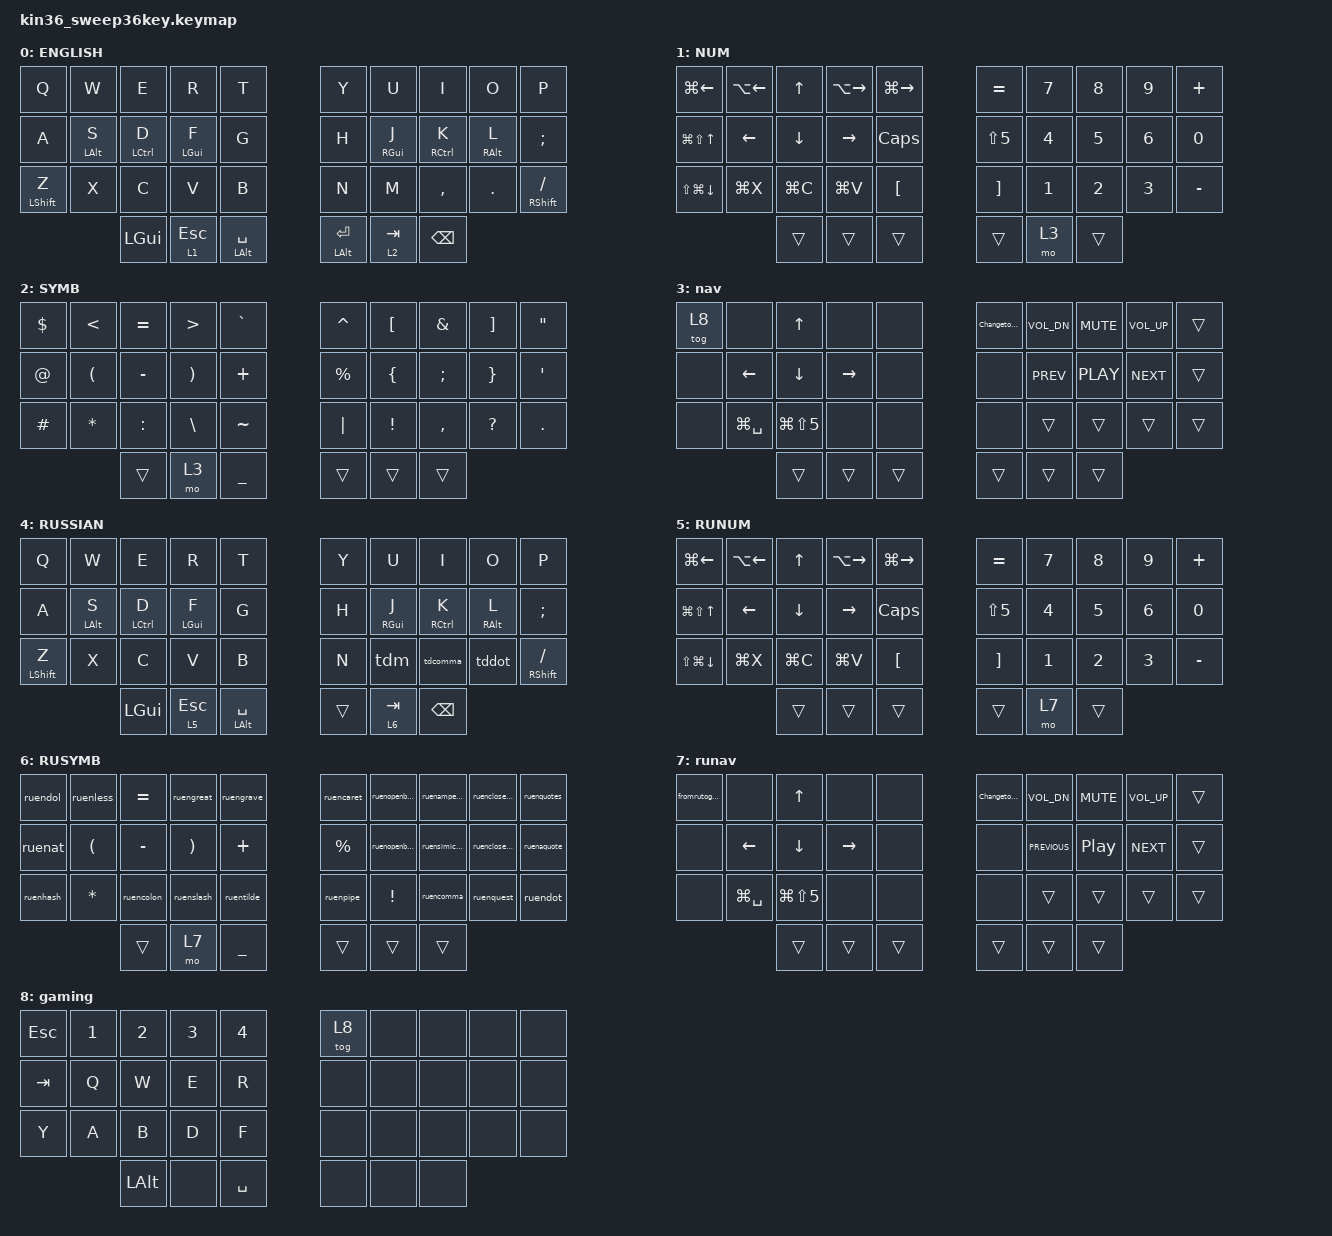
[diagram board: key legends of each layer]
// Copyright (c) 2022 The ZMK Contributors
// SPDX-License-Identifier: MIT

#define ZMK_POINTING_DEFAULT_MOVE_VAL 2500  // 600
#define ZMK_POINTING_DEFAULT_SCRL_VAL 20    // 10

#include <behaviors.dtsi>
#include <dt-bindings/zmk/keys.h>

#define MAC 0
#define WIN 1
#define RIG 2
#define LEF 3
#define TRI 4
#define MOUSE 5

// https://zmk.dev/docs/development/hardware-integration/soft-off-setup?advanced-methods=wakeup&kscan-type=dkscan

/ {
    keys {
        compatible = "gpio-keys";

        soft_off_gpio_key: soft_off_gpio_key { gpios = <&gpio1 6 (GPIO_ACTIVE_LOW | GPIO_PULL_UP)>; };
    };

    wakeup_scan: wakeup_scan {
        compatible = "zmk,kscan-gpio-direct";
        input-keys = <&soft_off_gpio_key>;
        wakeup-source;
    };

    side_band_behavior_triggers: side_band_behavior_triggers {
        compatible = "zmk,kscan-sideband-behaviors";
        kscan = <&wakeup_scan>;
        auto-enable;
        wakeup-source;
    };

    soft_off_wakers {
        compatible = "zmk,soft-off-wakeup-sources";
        wakeup-sources = <&wakeup_scan>;
    };
};

/ {
    // chosen { zmk,charmap = &charmap_us; };

    behaviors {
        ht: hold_tap {
            label = "hold_tap";
            compatible = "zmk,behavior-hold-tap";
            #binding-cells = <2>;
            flavor = "tap-preferred";
            tapping-term-ms = <220>;
            quick-tap-ms = <150>;
            global-quick-tap;
            bindings = <&kp>, <&kp>;

            require-prior-idle-ms = <50>;
        };

        tdm: tdm {
            compatible = "zmk,behavior-tap-dance";
            label = "TDM";
            #binding-cells = <0>;
            bindings = <&kp M>, <&kp LEFT_BRACKET>;
        };

        tdcomma: tdcomma {
            compatible = "zmk,behavior-tap-dance";
            label = "TDCOMMA";
            #binding-cells = <0>;
            bindings = <&kp COMMA>, <&kp SINGLE_QUOTE>;
        };

        tddot: tddot {
            compatible = "zmk,behavior-tap-dance";
            label = "TDDOT";
            #binding-cells = <0>;
            bindings = <&kp PERIOD>, <&kp RIGHT_BRACKET>;
        };

        mmv {
            acceleration-exponent = <1>;      // 1
            time-to-max-speed-ms = <300>;    // 40
            delay-ms = <0>;                   // 0
        };

        msc {
            acceleration-exponent = <0>;      // 0
            time-to-max-speed-ms = <40>;      // 500
            delay-ms = <0>;                   // 10
        };
    };

    conditional_layers { compatible = "zmk,conditional-layers"; };

    combos {
        compatible = "zmk,combos";

        ENG {
            bindings = <&toeng>;
            key-positions = <2 3>;
            layers = <4>;
        };

        newline {
            bindings = <&kp LS(ENTER)>;
            key-positions = <20 33>;
            layers = <0 4>;
        };

        changeru {
            bindings = <&torus>;
            key-positions = <2 3>;
            layers = <0>;
        };
    };

    macros {
        Changetoeng: Changetoeng {
            compatible = "zmk,behavior-macro";
            #binding-cells = <0>;
            bindings = <&kp LC(SPACE)>;
            label = "CHANGETOENG";
        };

        ruendol: ruen {
            compatible = "zmk,behavior-macro";
            #binding-cells = <0>;
            bindings = <&Changetoeng &kp DOLLAR &Changetoeng>;
            label = "RUEN";
        };

        ruenat: ruenat {
            compatible = "zmk,behavior-macro";
            #binding-cells = <0>;
            bindings = <&Changetoeng &kp AT_SIGN &Changetoeng>;
            label = "RUENAT";
        };

        ruenhash: ruencell {
            compatible = "zmk,behavior-macro";
            #binding-cells = <0>;
            bindings = <&Changetoeng &kp HASH &Changetoeng>;
            label = "RUENCELL";
        };

        ruenless: ruenless {
            compatible = "zmk,behavior-macro";
            #binding-cells = <0>;
            bindings = <&Changetoeng &kp LESS_THAN &Changetoeng>;
            label = "RUENLESS";
        };

        ruengreat: ruengreat {
            compatible = "zmk,behavior-macro";
            #binding-cells = <0>;
            bindings = <&Changetoeng &kp GREATER_THAN &Changetoeng>;
            label = "RUENGREAT";
        };

        ruengrave: ruengrave {
            compatible = "zmk,behavior-macro";
            #binding-cells = <0>;
            bindings = <&Changetoeng &kp GRAVE &Changetoeng>;
            label = "RUENGRAVE";
        };

        ruencolon: ruencolon {
            compatible = "zmk,behavior-macro";
            #binding-cells = <0>;
            bindings = <&Changetoeng &kp COLON &Changetoeng>;
            label = "RUENCOLON";
        };

        ruenslash: ruenslash {
            compatible = "zmk,behavior-macro";
            #binding-cells = <0>;
            bindings = <&Changetoeng &kp BACKSLASH &Changetoeng>;
            label = "RUENSLASH";
        };

        ruentilde: new_macro {
            compatible = "zmk,behavior-macro";
            #binding-cells = <0>;
            bindings = <&Changetoeng &kp TILDE &Changetoeng>;
            label = "NEW_MACRO";
        };

        ruencaret: ruencaret {
            compatible = "zmk,behavior-macro";
            #binding-cells = <0>;
            bindings = <&Changetoeng &kp CARET &Changetoeng>;
            label = "RUENCARET";
        };

        ruenopenbracket: ruenopenbracket {
            compatible = "zmk,behavior-macro";
            #binding-cells = <0>;
            bindings = <&Changetoeng &kp LEFT_BRACKET &Changetoeng>;
        };

        ruenclosebracket: ruenclosebracket {
            compatible = "zmk,behavior-macro";
            #binding-cells = <0>;
            bindings = <&Changetoeng &kp RIGHT_BRACKET &Changetoeng>;
            label = "RUENCLOSEBRACKET";
        };

        ruenquotes: ruendunno {
            compatible = "zmk,behavior-macro";
            #binding-cells = <0>;
            bindings = <&Changetoeng &kp DOUBLE_QUOTES &Changetoeng>;
            label = "RUENDUNNO";
        };

        ruenopenbrace: ruenopenbrace {
            compatible = "zmk,behavior-macro";
            #binding-cells = <0>;
            bindings = <&Changetoeng &kp LEFT_BRACE &Changetoeng>;
            label = "RUENOPENBRACE";
        };

        ruenclosebrace: ruenclosebrace {
            compatible = "zmk,behavior-macro";
            #binding-cells = <0>;
            bindings = <&Changetoeng &kp RIGHT_BRACE &Changetoeng>;
            label = "RUENCLOSEBRACE";
        };

        ruenaquote: ruenasteriks {
            compatible = "zmk,behavior-macro";
            #binding-cells = <0>;
            bindings = <&Changetoeng &kp SINGLE_QUOTE &Changetoeng>;
            label = "RUENASTERIKS";
        };

        ruenpipe: ruenpipe {
            compatible = "zmk,behavior-macro";
            #binding-cells = <0>;
            bindings = <&Changetoeng &kp PIPE &Changetoeng>;
            label = "ruenpipe";
        };

        ruensimicolon: ruensimicolon {
            compatible = "zmk,behavior-macro";
            #binding-cells = <0>;
            bindings = <&Changetoeng &kp SEMICOLON &Changetoeng>;
            label = "RUENSIMICOLON";
        };

        ruencomma: ruencomma {
            compatible = "zmk,behavior-macro";
            #binding-cells = <0>;
            bindings = <&Changetoeng &kp COMMA &Changetoeng>;
            label = "RUENCOMMA";
        };

        ruenquest: ruenquest {
            compatible = "zmk,behavior-macro";
            #binding-cells = <0>;
            bindings = <&Changetoeng &kp QUESTION &Changetoeng>;
            label = "RUENQUEST";
        };

        ruendot: ruendot {
            compatible = "zmk,behavior-macro";
            #binding-cells = <0>;
            bindings = <&Changetoeng &kp PERIOD &Changetoeng>;
            label = "RUENDOT";
        };

        toeng: toeng {
            compatible = "zmk,behavior-macro";
            #binding-cells = <0>;
            bindings = <&Changetoeng &tog 4>;
            label = "TOENG";
        };

        torus: torus {
            compatible = "zmk,behavior-macro";
            #binding-cells = <0>;
            bindings = <&Changetoeng &tog 4>;
            label = "TORUS";
        };

        fromrutogaming: fromrutogaming {
            compatible = "zmk,behavior-macro";
            #binding-cells = <0>;
            bindings = <&tog 4 &tog 8 &Changetoeng>;
            label = "FROMRUTOGAMING";
        };

        ruenampersand: ruenampersand {
            compatible = "zmk,behavior-macro";
            #binding-cells = <0>;
            bindings = <&Changetoeng &kp AMPERSAND &Changetoeng>;
            label = "RUENAMPERSAND";
        };
    };

    keymap {
        compatible = "zmk,keymap";

        ENGLISH {
            display-name = "ENGLISH";
            bindings = <
  &kp Q             &kp W       &kp E         &kp R       &kp T                 &kp Y               &kp U       &kp I        &kp O       &kp P
  &kp A             &ht LALT S  &ht LCTRL D   &ht LGUI F  &kp G                 &kp H               &ht RGUI J  &ht RCTRL K  &ht RALT L  &kp SEMICOLON
  &mt LEFT_SHIFT Z  &kp X       &kp C         &kp V       &kp B                 &kp N               &kp M       &kp COMMA    &kp DOT     &mt RIGHT_SHIFT SLASH
                                &kp LEFT_GUI  &lt 1 ESC   &mt LEFT_ALT SPACE    &mt LEFT_ALT ENTER  &lt 2 TAB   &kp BSPC
            >;
        };

        NUM {
            display-name = "NUM";
            bindings = <
  &kp LG(LEFT_ARROW)    &kp LA(LEFT)    &kp UP_ARROW  &kp LA(RIGHT)  &kp LG(RIGHT)       &kp EQUAL          &kp N7        &kp N8        &kp N9        &kp PLUS
  &kp LG(LS(UP_ARROW))  &kp LEFT_ARROW  &kp DOWN      &kp RIGHT      &kp CAPSLOCK        &kp LS(N5)         &kp NUMBER_4  &kp N5        &kp NUMBER_6  &kp N0
  &kp LS(LG(DOWN))      &kp LG(X)       &kp LG(C)     &kp LG(V)      &kp LEFT_BRACKET    &kp RIGHT_BRACKET  &kp NUMBER_1  &kp NUMBER_2  &kp NUMBER_3  &kp MINUS
                                        &trans        &trans         &trans              &trans             &mo 3         &trans
            >;
        };

        SYMB {
            bindings = <
  &kp DOLLAR   &kp LESS_THAN         &kp EQUAL  &kp GREATER_THAN       &kp GRAVE         &kp CARET    &kp LBKT         &kp AMPERSAND  &kp RBKT         &kp DOUBLE_QUOTES
  &kp AT_SIGN  &kp LEFT_PARENTHESIS  &kp MINUS  &kp RIGHT_PARENTHESIS  &kp PLUS          &kp PERCENT  &kp LEFT_BRACE   &kp SEMICOLON  &kp RIGHT_BRACE  &kp SINGLE_QUOTE
  &kp HASH     &kp ASTERISK          &kp COLON  &kp BACKSLASH          &kp TILDE         &kp PIPE     &kp EXCLAMATION  &kp COMMA      &kp QUESTION     &kp PERIOD
                                     &trans     &mo 3                  &kp UNDERSCORE    &trans       &trans           &trans
            >;
        };

        nav {
            bindings = <
  &tog 8  &none          &kp UP_ARROW    &none      &none     &Changetoeng  &kp C_VOL_DN  &kp C_MUTE  &kp C_VOL_UP  &trans
  &none   &kp LEFT       &kp DOWN        &kp RIGHT  &none     &none         &kp C_PREV    &kp C_PLAY  &kp C_NEXT    &trans
  &none   &kp LG(SPACE)  &kp LG(LS(N5))  &none      &none     &none         &trans        &trans      &trans        &trans
                         &trans          &trans     &trans    &trans        &trans        &trans
            >;
        };

        RUSSIAN {
            display-name = "RUSSIAN";
            bindings = <
  &kp Q             &kp W       &kp E         &kp R       &kp T                 &kp Y   &kp U       &kp I        &kp O       &kp P
  &kp A             &ht LALT S  &ht LCTRL D   &ht LGUI F  &kp G                 &kp H   &ht RGUI J  &ht RCTRL K  &ht RALT L  &kp SEMICOLON
  &mt LEFT_SHIFT Z  &kp X       &kp C         &kp V       &kp B                 &kp N   &tdm        &tdcomma     &tddot      &mt RIGHT_SHIFT SLASH
                                &kp LEFT_GUI  &lt 5 ESC   &mt LEFT_ALT SPACE    &trans  &lt 6 TAB   &kp BSPC
            >;
        };

        RUNUM {
            display-name = "RUNUM";
            bindings = <
  &kp LG(LEFT_ARROW)    &kp LA(LEFT)    &kp UP_ARROW  &kp LA(RIGHT)  &kp LG(RIGHT)       &kp EQUAL          &kp N7        &kp N8        &kp N9        &kp PLUS
  &kp LG(LS(UP_ARROW))  &kp LEFT_ARROW  &kp DOWN      &kp RIGHT      &kp CAPSLOCK        &kp LS(N5)         &kp NUMBER_4  &kp N5        &kp NUMBER_6  &kp N0
  &kp LS(LG(DOWN))      &kp LG(X)       &kp LG(C)     &kp LG(V)      &kp LEFT_BRACKET    &kp RIGHT_BRACKET  &kp NUMBER_1  &kp NUMBER_2  &kp NUMBER_3  &kp MINUS
                                        &trans        &trans         &trans              &trans             &mo 7         &trans
            >;
        };

        RUSYMB {
            display-name = "RUSYMB";
            bindings = <
  &ruendol   &ruenless             &kp EQUAL   &ruengreat             &ruengrave        &ruencaret   &ruenopenbracket  &ruenampersand  &ruenclosebracket  &ruenquotes
  &ruenat    &kp LEFT_PARENTHESIS  &kp MINUS   &kp RIGHT_PARENTHESIS  &kp PLUS          &kp PERCENT  &ruenopenbrace    &ruensimicolon  &ruenclosebrace    &ruenaquote
  &ruenhash  &kp ASTERISK          &ruencolon  &ruenslash             &ruentilde        &ruenpipe    &kp EXCL          &ruencomma      &ruenquest         &ruendot
                                   &trans      &mo 7                  &kp UNDERSCORE    &trans       &trans            &trans
            >;
        };

        runav {
            bindings = <
  &fromrutogaming  &none           &kp UP_ARROW    &none      &none     &Changetoeng  &kp C_VOL_DN    &kp C_MUTE        &kp C_VOL_UP  &trans
  &none            &kp LEFT_ARROW  &kp DOWN_ARROW  &kp RIGHT  &none     &none         &kp C_PREVIOUS  &kp C_PLAY_PAUSE  &kp C_NEXT    &trans
  &none            &kp LG(SPACE)   &kp LG(LS(N5))  &none      &none     &none         &trans          &trans            &trans        &trans
                                   &trans          &trans     &trans    &trans        &trans          &trans
            >;
        };

        gaming {
            bindings = <
  &kp ESC  &kp N1  &kp N2    &kp N3  &kp N4       &tog 8  &none  &none  &none  &none
  &kp TAB  &kp Q   &kp W     &kp E   &kp R        &none   &none  &none  &none  &none
  &kp Y    &kp A   &kp B     &kp D   &kp F        &none   &none  &none  &none  &none
                   &kp LALT  &none   &kp SPACE    &none   &none  &none
            >;
        };
    };
};
